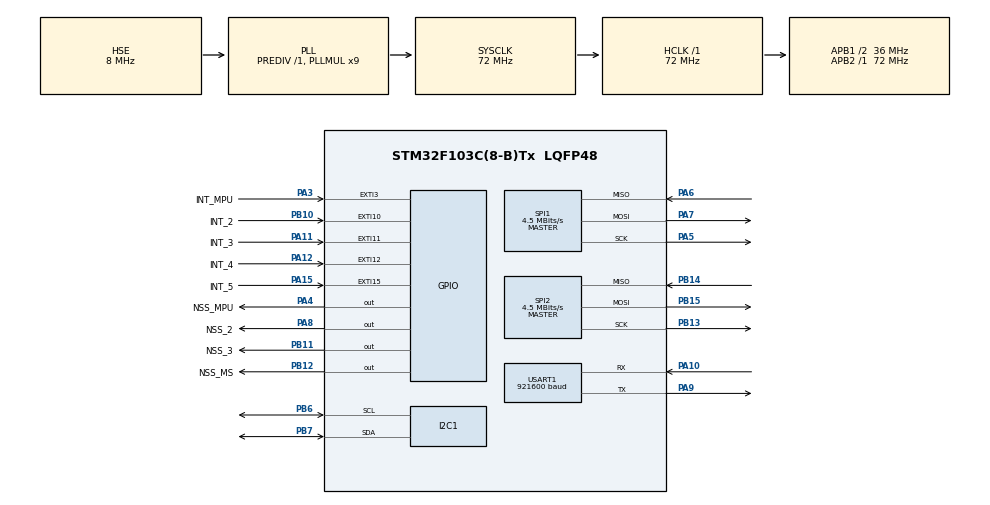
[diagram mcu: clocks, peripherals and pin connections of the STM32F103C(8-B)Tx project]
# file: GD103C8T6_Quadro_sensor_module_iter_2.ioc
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FREERTOS.Tasks01=defaultTask,24,128,StartDefaultTask,Default,NULL,Dynamic,NULL,NULL;MPUTask,8,256,StartMPUTask,Default,NULL,Dynamic,NULL,NULL
FREERTOS.configUSE_NEWLIB_REENTRANT=1
Mcu.Family=STM32F1
Mcu.Name=STM32F103C(8-B)Tx
Mcu.Package=LQFP48
NVIC.PriorityGroup=NVIC_PRIORITYGROUP_4
NVIC.TIM1_UP_IRQn=true\:15\:0\:false\:false\:true\:false\:false\:true\:true
NVIC.TimeBase=TIM1_UP_IRQn
NVIC.TimeBaseIP=TIM1
PA10.Mode=Asynchronous
PA10.Signal=USART1_RX
PA11.GPIO_Label=INT_3
PA11.Signal=GPXTI11
PA12.GPIO_Label=INT_4
PA12.Signal=GPXTI12
PA13.Mode=Serial_Wire
PA13.Signal=SYS_JTMS-SWDIO
PA14.Mode=Serial_Wire
PA14.Signal=SYS_JTCK-SWCLK
PA15.GPIO_Label=INT_5
PA15.Signal=GPXTI15
PA3.GPIO_Label=INT_MPU
PA3.Signal=GPXTI3
PA4.GPIO_Label=NSS_MPU
PA4.Signal=GPIO_Output
PA5.Mode=Full_Duplex_Master
PA5.Signal=SPI1_SCK
PA6.Mode=Full_Duplex_Master
PA6.Signal=SPI1_MISO
PA7.Mode=Full_Duplex_Master
PA7.Signal=SPI1_MOSI
PA8.GPIO_Label=NSS_2
PA8.Signal=GPIO_Output
PA9.Mode=Asynchronous
PA9.Signal=USART1_TX
PB10.GPIO_Label=INT_2
PB10.Signal=GPXTI10
PB11.GPIO_Label=NSS_3
PB11.Signal=GPIO_Output
PB12.GPIO_Label=NSS_MS
PB12.Signal=GPIO_Output
PB13.Mode=Full_Duplex_Master
PB13.Signal=SPI2_SCK
PB14.Mode=Full_Duplex_Master
PB14.Signal=SPI2_MISO
PB15.Mode=Full_Duplex_Master
PB15.Signal=SPI2_MOSI
PB6.Mode=I2C
PB6.Signal=I2C1_SCL
PB7.Mode=I2C
PB7.Signal=I2C1_SDA
PD0-OSC_IN.Mode=HSE-External-Oscillator
PD0-OSC_IN.Signal=RCC_OSC_IN
PD1-OSC_OUT.Mode=HSE-External-Oscillator
PD1-OSC_OUT.Signal=RCC_OSC_OUT
ProjectManager.HeapSize=0x200
ProjectManager.StackSize=0x400
ProjectManager.TargetToolchain=STM32CubeIDE
RCC.AHBFreq_Value=72000000
RCC.APB1CLKDivider=RCC_HCLK_DIV2
RCC.APB1Freq_Value=36000000
RCC.APB1TimFreq_Value=72000000
RCC.APB2Freq_Value=72000000
RCC.APB2TimFreq_Value=72000000
RCC.HCLKFreq_Value=72000000
RCC.PLLMUL=RCC_PLL_MUL9
RCC.PLLSourceVirtual=RCC_PLLSOURCE_HSE
RCC.SYSCLKFreq_VALUE=72000000
RCC.SYSCLKSource=RCC_SYSCLKSOURCE_PLLCLK
RCC.USBFreq_Value=72000000
SPI1.BaudRatePrescaler=SPI_BAUDRATEPRESCALER_16
SPI1.CalculateBaudRate=4.5 MBits/s
SPI1.Direction=SPI_DIRECTION_2LINES
SPI1.Mode=SPI_MODE_MASTER
SPI1.VirtualType=VM_MASTER
SPI2.BaudRatePrescaler=SPI_BAUDRATEPRESCALER_8
SPI2.CalculateBaudRate=4.5 MBits/s
SPI2.Direction=SPI_DIRECTION_2LINES
SPI2.Mode=SPI_MODE_MASTER
SPI2.VirtualType=VM_MASTER
USART1.BaudRate=921600
USART1.VirtualMode=VM_ASYNC
VP_FREERTOS_VS_CMSIS_V2.Mode=CMSIS_V2
VP_SYS_VS_tim1.Mode=TIM1
board=custom

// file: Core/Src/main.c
/* USER CODE BEGIN Header */
/**
  ******************************************************************************
  * @file           : main.c
  * @brief          : Main program body
  ******************************************************************************
  * @attention
  *
  * Copyright (c) 2023 STMicroelectronics.
  * All rights reserved.
  *
  * This software is licensed under terms that can be found in the LICENSE file
  * in the root directory of this software component.
  * If no LICENSE file comes with this software, it is provided AS-IS.
  *
  ******************************************************************************
  */
/* USER CODE END Header */
#include "main.h"
#include "cmsis_os.h"
#include "i2c.h"
#include "spi.h"
#include "usart.h"
#include "gpio.h"

/* USER CODE BEGIN Includes */
#include "madgwickFilter.h"
#include "MPU9250.h"
#include <string.h>
#include <stdio.h>
/* USER CODE END Includes */

void SystemClock_Config(void);
void MX_FREERTOS_Init(void);
/* USER CODE BEGIN PFP */
void ms5611_init();
void MS5611Begin();
uint8_t MPU9250_Init();
void MPU9250_calibrate();
void Barometer_calibrate();
/* USER CODE END PFP */

int main(void)
{

  /* MCU Configuration--------------------------------------------------------*/

  /* Reset of all peripherals, Initializes the Flash interface and the Systick. */
  HAL_Init();

  /* Configure the system clock */
  SystemClock_Config();

  /* Initialize all configured peripherals */
  MX_GPIO_Init();
  MX_USART1_UART_Init();
  MX_I2C1_Init();
  MX_SPI1_Init();
  MX_SPI2_Init();
  /* USER CODE BEGIN 2 */
//  MPU9250_calibrate();
//  HAL_Delay(2000);
//  MPU9250_Init();
//  HAL_Delay(500);
  /* USER CODE END 2 */

  /* Init scheduler */
  osKernelInitialize();  /* Call init function for freertos objects (in freertos.c) */
  MX_FREERTOS_Init();

  /* Start scheduler */
  osKernelStart();

  /* We should never get here as control is now taken by the scheduler */
  /* Infinite loop */
  while (1)
  {

  }
}

void SystemClock_Config(void)
{
  RCC_OscInitTypeDef RCC_OscInitStruct = {0};
  RCC_ClkInitTypeDef RCC_ClkInitStruct = {0};

  /** Initializes the RCC Oscillators according to the specified parameters
  * in the RCC_OscInitTypeDef structure.
  */
  RCC_OscInitStruct.OscillatorType = RCC_OSCILLATORTYPE_HSE;
  RCC_OscInitStruct.HSEState = RCC_HSE_ON;
  RCC_OscInitStruct.HSEPredivValue = RCC_HSE_PREDIV_DIV1;
  RCC_OscInitStruct.HSIState = RCC_HSI_ON;
  RCC_OscInitStruct.PLL.PLLState = RCC_PLL_ON;
  RCC_OscInitStruct.PLL.PLLSource = RCC_PLLSOURCE_HSE;
  RCC_OscInitStruct.PLL.PLLMUL = RCC_PLL_MUL9;
  if (HAL_RCC_OscConfig(&RCC_OscInitStruct) != HAL_OK)
  {
    Error_Handler();
  }

  /** Initializes the CPU, AHB and APB buses clocks
  */
  RCC_ClkInitStruct.ClockType = RCC_CLOCKTYPE_HCLK|RCC_CLOCKTYPE_SYSCLK
                              |RCC_CLOCKTYPE_PCLK1|RCC_CLOCKTYPE_PCLK2;
  RCC_ClkInitStruct.SYSCLKSource = RCC_SYSCLKSOURCE_PLLCLK;
  RCC_ClkInitStruct.AHBCLKDivider = RCC_SYSCLK_DIV1;
  RCC_ClkInitStruct.APB1CLKDivider = RCC_HCLK_DIV2;
  RCC_ClkInitStruct.APB2CLKDivider = RCC_HCLK_DIV1;

  if (HAL_RCC_ClockConfig(&RCC_ClkInitStruct, FLASH_LATENCY_2) != HAL_OK)
  {
    Error_Handler();
  }
}

void HAL_TIM_PeriodElapsedCallback(TIM_HandleTypeDef *htim)
{
  if (htim->Instance == TIM1) {
    HAL_IncTick();
  }
}

void Error_Handler(void)
{
  __disable_irq();
  while (1)
  {
  }
}

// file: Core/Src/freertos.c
/* USER CODE BEGIN Header */
/**
  ******************************************************************************
  * File Name          : freertos.c
  * Description        : Code for freertos applications
  ******************************************************************************
  * @attention
  *
  * Copyright (c) 2023 STMicroelectronics.
  * All rights reserved.
  *
  * This software is licensed under terms that can be found in the LICENSE file
  * in the root directory of this software component.
  * If no LICENSE file comes with this software, it is provided AS-IS.
  *
  ******************************************************************************
  */
/* USER CODE END Header */

#include "FreeRTOS.h"
#include "task.h"
#include "main.h"
#include "cmsis_os.h"

/* USER CODE BEGIN Includes */
#include "madgwickFilter.h"
#include "MPU9250.h"
#include <string.h>
#include "usart.h"
#include "math.h"
/* USER CODE END Includes */

/* USER CODE BEGIN Variables */
volatile float mass[1000];
uint8_t can_data[8] = {0,};
uint8_t can_alt_data[8] = {0,};
char buffer[10];
float gyroX;
float gyroY;
float gyroZ;
float accelX;
float accelY;
float accelZ;
float gyroX_filtered;
float gyroY_filtered;
float gyroZ_filtered;
float accelX_filtered;
float accelY_filtered;
float accelZ_filtered;
float accelX_summ;
float accelY_summ;
float accelZ_summ;
float accelX_average;
float accelY_average;
float accelZ_average;
float gyroX_summ;
float gyroY_summ;
float gyroZ_summ;
float gyroX_average;
float gyroY_average;
float gyroZ_average;

float roll = 0.0, pitch = 0.0, yaw = 0.0;

float auxiliary_roll = 0.0, auxiliary_pitch = 0.0, auxiliary_yaw = 0.0;

uint8_t acc_data[8] = {0,};

uint8_t gyro_data[8] = {0,};

extern uint8_t _buffer[21];

extern uint16_t ii, packet_count, fifo_count;

uint32_t can = 0;

uint32_t gyroZ_drift = 0;

extern volatile float relativeAltitudeFiltered;

float data[6] = { 0.1, 0.2, 0.3, 0.4, 0.5, 0.6 };
uint8_t data_8t[24];
//uint8_t buffer[12];

int32_t gyro_bias[3]  = {0, 0, 0}, accel_bias[3] = {0, 0, 0};
int32_t accel_bias_reg[3] = {0, 0, 0};
uint32_t rawTemperature = 0;
uint32_t count = 0;
/* USER CODE END Variables */
/* Definitions for defaultTask */
osThreadId_t defaultTaskHandle;
const osThreadAttr_t defaultTask_attributes = {
  .name = "defaultTask",
  .stack_size = 128 * 4,
  .priority = (osPriority_t) osPriorityNormal,
};
/* Definitions for MPUTask */
osThreadId_t MPUTaskHandle;
const osThreadAttr_t MPUTask_attributes = {
  .name = "MPUTask",
  .stack_size = 256 * 4,
  .priority = (osPriority_t) osPriorityLow,
};

/* USER CODE BEGIN FunctionPrototypes */
void Barometer_calculate();
uint32_t MS5611GetTemperature();
void MPU9250_GetData(int16_t* AccData, int16_t* MagData, int16_t* GyroData);
void MadgwickFilterRun(float g_x, float g_y, float g_z, float a_x, float a_y, float a_z);
/* USER CODE END FunctionPrototypes */

void StartDefaultTask(void *argument);
void StartMPUTask(void *argument);

void MX_FREERTOS_Init(void); /* (MISRA C 2004 rule 8.1) */

void MX_FREERTOS_Init(void) {

  /* Create the thread(s) */
  /* creation of defaultTask */
  defaultTaskHandle = osThreadNew(StartDefaultTask, NULL, &defaultTask_attributes);

  /* creation of MPUTask */
  MPUTaskHandle = osThreadNew(StartMPUTask, NULL, &MPUTask_attributes);

}

void StartDefaultTask(void *argument)
{
  /* USER CODE BEGIN StartDefaultTask */
  TickType_t xLastWakeTime;
  const TickType_t xFrequency = 50;
  xLastWakeTime = xTaskGetTickCount();
  /* Infinite loop */
  for(;;)
  {
//	Barometer_calculate();
//	memcpy(can_alt_data, &relativeAltitudeFiltered, 4);
//	if (HAL_CAN_AddTxMessage(&hcan, &TxHeaderAltitude, can_alt_data, &TxMailbox) == HAL_OK) {
//		HAL_GPIO_TogglePin(LED2_GPIO_Port, LED2_Pin);
//	}
	osDelay(1);
	vTaskDelayUntil(&xLastWakeTime, xFrequency);
  }
  /* USER CODE END StartDefaultTask */
}

void StartMPUTask(void *argument)
{
  /* USER CODE BEGIN StartMPUTask */
  TickType_t xLastWakeTime;
  const TickType_t xFrequency = 10;
  xLastWakeTime = xTaskGetTickCount();
  /* Infinite loop */
  for(;;)
  {
//	int16_t AccData[3], GyroData[3], MagData[3];
//	MPU9250_GetData(AccData, GyroData, MagData);
//	accelX_average = accelX_filtered;
//	accelY_average = accelY_filtered;
//	accelZ_average = accelZ_filtered;
//	gyroX_average = gyroX_filtered;
//	gyroY_average = gyroY_filtered;
//	//gyroZ_average = gyroZ_filtered;
//	if (gyroZ_filtered > 0.03 || gyroZ_filtered < -0.03) {
//		gyroZ_average = gyroZ_filtered;
//		gyroZ_drift++;
//	}
//	else {
//		gyroZ_average = 0;
//	}
//	imu_filter_rp(accelX_average, accelY_average, accelZ_average, gyroX_average, gyroY_average, 0);
//
//	imu_filter_y(accelX_average, accelY_average, accelZ_average, gyroX_average, gyroY_average, gyroZ_average);
//	yaw = 0;
//	q_est_rp.q4 = 0;
//	eulerAngles(q_est_rp, &roll, &pitch, &yaw);
//	eulerAngles(q_est_y, &auxiliary_roll, &auxiliary_pitch, &auxiliary_yaw);
//	memcpy(can_data, &roll, 4);
//	memcpy(&can_data[4], &pitch, 4);
//	osDelay(1);
//	memcpy(can_data, &auxiliary_yaw, 4);
//	count = HAL_GetTick();
	memcpy(&data_8t, &data[0], sizeof(float));
	memcpy(&data_8t[4], &data[1], sizeof(float));
	memcpy(&data_8t[8], &data[2], sizeof(float));
	memcpy(&data_8t[12], &data[3], sizeof(float));
	memcpy(&data_8t[16], &data[4], sizeof(float));
	memcpy(&data_8t[20], &data[5], sizeof(float));
	uint8_t start_symbol[1] = {'S'};
	HAL_UART_Transmit(&huart1, (uint8_t*)start_symbol, sizeof(start_symbol), 1000);
	HAL_UART_Transmit(&huart1, (uint8_t*)data_8t, sizeof(data_8t), 1000);
	//HAL_Delay(1);
	for (int i = 0; i < 6; ++i) {
		data[i] += 0.1;
	}
	//HAL_UART_Transmit(&huart1, pData, Size, 1);
	vTaskDelayUntil(&xLastWakeTime, xFrequency);
  }
  /* USER CODE END StartMPUTask */
}
